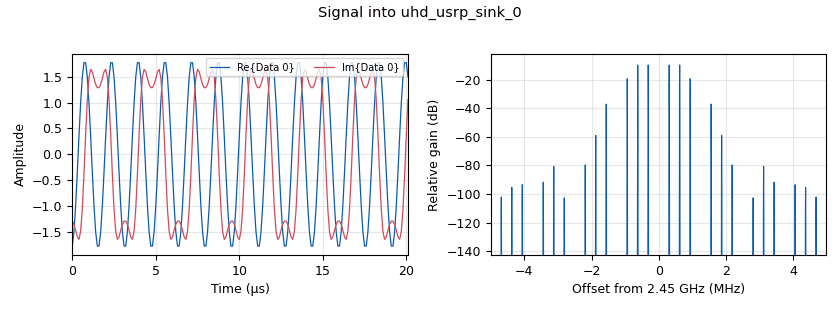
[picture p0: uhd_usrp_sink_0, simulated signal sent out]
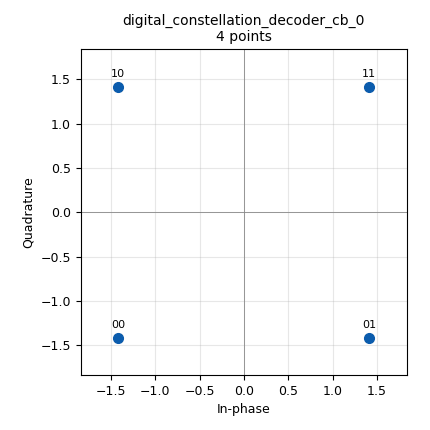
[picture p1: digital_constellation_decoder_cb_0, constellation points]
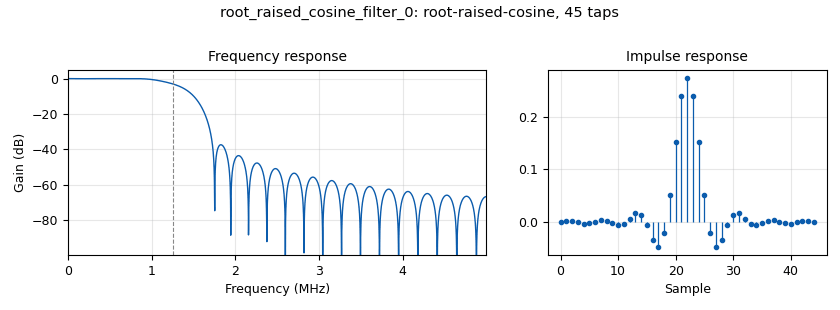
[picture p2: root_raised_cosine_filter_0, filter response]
options:
  parameters:
    author: John Sylvia
    generate_options: qt_gui
    id: transceiver_test
    output_language: python
    title: Transceiver Test
  states: {}

blocks:
- name: bpsk_object
  id: variable_constellation
  parameters:
    const_points: '[-1, 1]'
    precision: '8'
    rot_sym: '2'
    sym_map: '[0, 1]'
    type: bpsk
  states: {}
- name: carrier_freq
  id: variable_qtgui_range
  parameters:
    label: Carrier Frequency
    start: '2000'
    step: '0.1'
    stop: '5875'
    value: '2450'
  states: {}
- name: gain
  id: variable_qtgui_range
  parameters:
    label: RX Gain (dB)
    start: '0'
    step: '0.1'
    stop: '60'
    value: '5'
  states: {}
- name: gain_tx
  id: variable_qtgui_range
  parameters:
    label: TX Gain (dB)
    start: '0'
    step: '0.1'
    stop: '60'
    value: '20'
  states: {}
- name: order
  id: variable
  parameters:
    value: '4'
  states: {}
- name: qpsk_object
  id: variable_constellation
  parameters:
    const_points: '[-1+0j, 1+0j, 0-1j, 0+1j]'
    precision: '8'
    rot_sym: order
    sym_map: '[0, 1, 2, 3]'
    type: qpsk
  states: {}
- name: samp_rate
  id: variable
  parameters:
    value: 10e6
  states: {}
- name: signal_freq
  id: variable_qtgui_range
  parameters:
    label: Signal Frequency
    start: '0'
    step: '100'
    stop: '100000'
    value: '1000'
  states: {}
- name: sps
  id: variable
  parameters:
    value: '4'
  states: {}
- name: analog_agc_xx_0
  id: analog_agc_xx
  parameters:
    gain: '1.0'
    max_gain: '65536'
    rate: '1e-4'
    reference: '1.0'
    type: complex
  states: {}
- name: blocks_char_to_float_0
  id: blocks_char_to_float
  parameters:
    scale: '1'
  states: {}
- name: blocks_repeat_0
  id: blocks_repeat
  parameters:
    interp: sps
    type: byte
  states: {}
- name: blocks_repeat_0_0
  id: blocks_repeat
  parameters:
    interp: sps
    type: byte
  states: {}
- name: blocks_vector_source_x_0
  id: blocks_vector_source_x
  parameters:
    repeat: 'True'
    type: byte
    vector: (0, 1, 2, 3)
  states: {}
- name: digital_constellation_decoder_cb_0
  id: digital_constellation_decoder_cb
  parameters:
    constellation: qpsk_object
  states: {}
- name: digital_constellation_encoder_bc_0_1
  id: digital_constellation_encoder_bc
  parameters:
    constellation: qpsk_object
  states: {}
- name: digital_costas_loop_cc_0
  id: digital_costas_loop_cc
  parameters:
    order: order
    w: (2*3.141596265359)/100
  states: {}
- name: digital_diff_decoder_bb_0
  id: digital_diff_decoder_bb
  parameters:
    coding: digital.DIFF_DIFFERENTIAL
    modulus: order
  states: {}
- name: digital_diff_encoder_bb_0
  id: digital_diff_encoder_bb
  parameters:
    coding: digital.DIFF_DIFFERENTIAL
    modulus: order
  states: {}
- name: digital_fll_band_edge_cc_0
  id: digital_fll_band_edge_cc
  parameters:
    filter_size: '64'
    rolloff: '0.35'
    samps_per_sym: sps
    type: cc
    w: (2*3.141596265359)/100
  states: {}
- name: digital_symbol_sync_xx_0
  id: digital_symbol_sync_xx
  parameters:
    damping: '1'
    loop_bw: '0.08'
    max_dev: '1.5'
    osps: '1'
    resamp_type: digital.IR_MMSE_8TAP
    sps: sps
    ted_gain: '1.0'
    ted_type: digital.TED_GARDNER
    type: cc
  states: {}
- name: qtgui_sink_x_0
  id: qtgui_sink_x
  parameters:
    bw: samp_rate
    fc: carrier_freq*10**6
    fftsize: '32768'
    name: '"Analysis"'
    rate: '40'
    showrf: 'True'
    type: complex
    wintype: window.WIN_HAMMING
  states: {}
- name: qtgui_time_sink_x_0_0
  id: qtgui_time_sink_x
  parameters:
    size: '1024'
    srate: samp_rate
    type: float
  states: {}
- name: root_raised_cosine_filter_0
  id: root_raised_cosine_filter
  parameters:
    alpha: '0.35'
    decim: '1'
    gain: '1'
    ntaps: 11*sps
    samp_rate: samp_rate
    sym_rate: samp_rate/sps
    type: fir_filter_ccf
  states: {}
- name: uhd_usrp_sink_0
  id: uhd_usrp_sink
  parameters:
    ant0: '"TX/RX"'
    center_freq0: carrier_freq*10**6
    dev_addr: '"addr=192.168.10.2"'
    gain0: gain_tx
    samp_rate: samp_rate
    stream_chans: '[0]'
    sync: none
    type: fc32
  states: {}
- name: uhd_usrp_source_0
  id: uhd_usrp_source
  parameters:
    ant0: '"RX2"'
    center_freq0: carrier_freq*10**6
    dev_addr: '"addr=192.168.10.2"'
    gain0: gain
    samp_rate: samp_rate
    stream_chans: '[1]'
    sync: none
    type: fc32
  states: {}

connections:
- [analog_agc_xx_0, '0', digital_fll_band_edge_cc_0, '0']
- [blocks_char_to_float_0, '0', qtgui_time_sink_x_0_0, '0']
- [blocks_repeat_0, '0', digital_constellation_encoder_bc_0_1, '0']
- [blocks_repeat_0_0, '0', blocks_char_to_float_0, '0']
- [blocks_vector_source_x_0, '0', digital_diff_encoder_bb_0, '0']
- [digital_constellation_decoder_cb_0, '0', digital_diff_decoder_bb_0, '0']
- [digital_constellation_encoder_bc_0_1, '0', root_raised_cosine_filter_0, '0']
- [digital_costas_loop_cc_0, '0', digital_constellation_decoder_cb_0, '0']
- [digital_costas_loop_cc_0, '0', qtgui_sink_x_0, '0']
- [digital_diff_decoder_bb_0, '0', blocks_repeat_0_0, '0']
- [digital_diff_encoder_bb_0, '0', blocks_repeat_0, '0']
- [digital_fll_band_edge_cc_0, '0', digital_symbol_sync_xx_0, '0']
- [digital_symbol_sync_xx_0, '0', digital_costas_loop_cc_0, '0']
- [root_raised_cosine_filter_0, '0', uhd_usrp_sink_0, '0']
- [uhd_usrp_source_0, '0', analog_agc_xx_0, '0']

metadata:
  file_format: 1
  grc_version: 3.10.9.2
